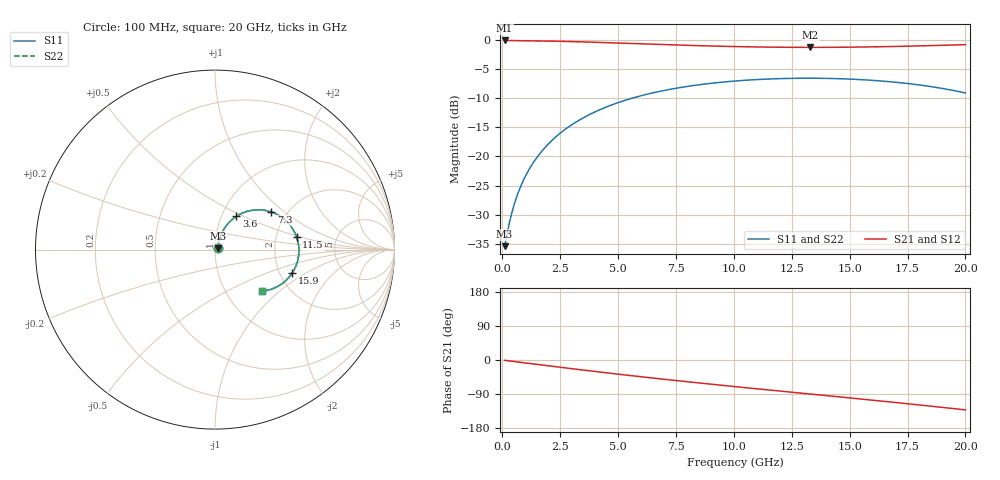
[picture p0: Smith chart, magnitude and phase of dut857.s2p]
! Touchstone file exported from HFSS 2026.1.0
!  File:  C:/ffzhzh/LocalFiles/Ansys_Project_Files/temp_train_TSV_RDL_857_1783270437_38704.aedt
!  Generated:  01:05:07 AM Jul  6, 2026
!  Design:  TSV_RDL
!  Project:  temp_train_TSV_RDL_857_1783270437_38704
! Variables:
!  h_bsmrdl = 3.97um
!  h_ox = 20um
!  h_rdl = 5um
!  h_sub = 54.85um
!  h_tmrdl = 2.87um
!  h_tsv = 54.85um
!  h_via = 3um
!  l_bsmrdl = 151.62um
!  l_sub = 2348.35um
!  l_tmrdl = 331.95um
!  m_sub = 200um
!  pitch = 46.39um
!  r_tsv = 2.42um
!  s_tmrdl = 10um
!  w_bsmrdl = 26.1um
!  w_sub = 500um
!  w_tmrdl = 29.13um
!  x_tsv_center1 = 346.515um
!  x_tsv_center2 = 524.235um
!  x_tsv_center3 = 885.315um
!  x_tsv_center4 = 1063.035um
!  x_tsv_center5 = 1424.115um
!  x_tsv_center6 = 1601.835um
# GHz S MA R 50.000000
! Terminal data exported
! Port[1] = TM_RDL1_1_T1
! Port[2] = TM_RDL5_1_T1
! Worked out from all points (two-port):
!   200 points, 100 MHz to 20 GHz, reference 50 ohm
!   highest |S21| = -0.14 dB at 100 MHz (marker M1); lowest = -1.3 dB at 13.3 GHz (marker M2)
!   |S21| within 3 dB of the highest: start of sweep to end of sweep
!   lowest |S11| = -35.4 dB at 100 MHz (marker M3), VSWR 1.03, Z = 51.6 + j0.731 ohm
!   |S11| at or under -10 dB: start of sweep to 5.626 GHz
!   |S22| runs from -35.4 to -6.6 dB; largest |S21 - S12| = 3.8e-13
!   S11 on the Smith chart (normalised r, x): 100 MHz: 1.03, +0.01; 3.6 GHz: 1.17, +0.46; 7.3 GHz: 1.67, +0.81; 11.5 GHz: 2.61, +0.46; 15.9 GHz: 2.34, -0.76; 20 GHz: 1.46, -0.77
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0.1  0.01706 24.5  0.9846 -0.8  0.9846 -0.8  0.01706 24.5
! Gamma 0 0 0 0
! Port Impedance 50 0 50 0
0.3  0.0267 49.5  0.9833 -2.4  0.9833 -2.4  0.0267 49.5
0.4  0.03229 55.1  0.9827 -3.2  0.9827 -3.2  0.03229 55.1
0.6  0.04386 61.6  0.9817 -4.7  0.9817 -4.7  0.04386 61.6
0.9  0.06178 66.0  0.9803 -7.0  0.9803 -7.0  0.06178 66.0
1.2  0.08004 67.4  0.9786 -9.3  0.9786 -9.3  0.08004 67.4
1.7  0.1105 67.1  0.9753 -13.2  0.9753 -13.2  0.1105 67.1
2.2  0.1406 65.2  0.9711 -16.9  0.9711 -16.9  0.1406 65.2
2.8  0.1756 62.2  0.965 -21.4  0.965 -21.4  0.1756 62.2
3.5  0.2144 58.0  0.9566 -26.6  0.9566 -26.6  0.2144 58.0
3.6  0.2198 57.4  0.9554 -27.4  0.9554 -27.4  0.2198 57.4
5  0.289 48.4  0.9359 -37.4  0.9359 -37.4  0.289 48.4
6.8  0.361 36.9  0.9099 -49.6  0.9099 -49.6  0.361 36.9
7.3  0.3775 33.8  0.903 -52.9  0.903 -52.9  0.3775 33.8
10.1  0.4434 16.8  0.8722 -70.6  0.8722 -70.6  0.4434 16.8
11.5  0.4604 8.6  0.8632 -79.1  0.8632 -79.1  0.4604 8.6
13.3  0.4676 -1.8  0.8589 -89.8  0.8589 -89.8  0.4676 -1.8
13.4  0.4676 -2.4  0.859 -90.4  0.859 -90.4  0.4676 -2.4
15.9  0.4496 -16.9  0.867 -105.5  0.867 -105.5  0.4496 -16.8
16.7  0.4372 -21.6  0.8726 -110.4  0.8726 -110.4  0.4372 -21.5
18.4  0.3995 -31.7  0.8883 -121.1  0.8883 -121.1  0.3995 -31.7
20  0.3495 -41.6  0.9064 -131.6  0.9064 -131.6  0.3495 -41.6
